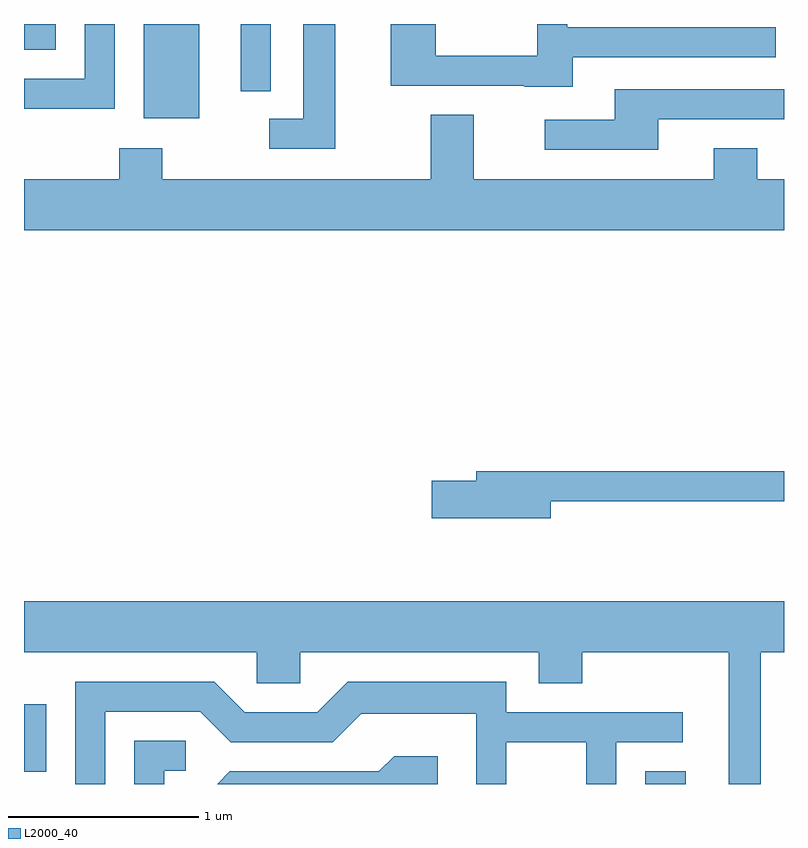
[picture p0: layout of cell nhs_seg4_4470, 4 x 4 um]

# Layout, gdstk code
import gdstk
lib = gdstk.Library(unit=1e-6, precision=1e-09)
def R(c, l, rs):  # rectangles x0, y0, x1, y1
    for r in rs: c.add(gdstk.rectangle(r[:2], r[2:], *l))
def P(c, l, *ps):  # polygons
    for p in ps: c.add(gdstk.Polygon(p, *l))
L2000_40 = (2000, 40)

nhs_seg4_4470 = lib.new_cell('nhs_seg4_4470')
R(nhs_seg4_4470, L2000_40, [(318.881,1353.982,319.094,1354.049), (315.611,1354.046,315.729,1354.403), (316.241,1357.486,316.534,1357.982), (316.751,1357.628,316.909,1357.982), (315.611,1357.846,315.779,1357.982)])
P(nhs_seg4_4470, L2000_40, [(316.089,1357.982),(315.931,1357.982),(315.931,1357.694),(315.611,1357.694),(315.611,1357.536),(316.089,1357.536)],
  [(317.249,1357.982),(317.081,1357.982),(317.081,1357.484),(316.903,1357.484),(316.903,1357.326),(317.249,1357.326)],
  [(318.499,1357.806),(319.568,1357.806),(319.568,1357.964),(318.469,1357.964),(318.469,1357.982),(318.311,1357.982),(318.311,1357.814),(317.779,1357.814),(317.779,1357.982),(317.541,1357.982),(317.541,1357.656),(318.245,1357.656),(318.245,1357.651),(318.499,1357.651)],
  [(318.949,1357.481),(319.611,1357.481),(319.611,1357.639),(318.721,1357.639),(318.721,1357.479),(318.353,1357.479),(318.353,1357.321),(318.949,1357.321)],
  [(319.611,1357.164),(319.469,1357.164),(319.469,1357.329),(319.241,1357.329),(319.241,1357.164),(317.979,1357.164),(317.979,1357.504),(317.751,1357.504),(317.751,1357.164),(316.339,1357.164),(316.339,1357.329),(316.111,1357.329),(316.111,1357.164),(315.611,1357.164),(315.611,1356.896),(319.611,1356.896)],
  [(318.384,1355.471),(319.611,1355.471),(319.611,1355.629),(317.991,1355.629),(317.991,1355.579),(317.756,1355.579),(317.756,1355.381),(318.384,1355.381)],
  [(319.489,1354.676),(319.611,1354.676),(319.611,1354.944),(315.611,1354.944),(315.611,1354.676),(316.836,1354.676),(316.836,1354.511),(317.064,1354.511),(317.064,1354.676),(318.321,1354.676),(318.321,1354.511),(318.549,1354.511),(318.549,1354.676),(319.321,1354.676),(319.321,1353.982),(319.489,1353.982)],
  [(316.039,1354.361),(316.539,1354.361),(316.699,1354.201),(317.237,1354.201),(317.387,1354.351),(317.991,1354.351),(317.991,1353.982),(318.149,1353.982),(318.149,1354.201),(318.571,1354.201),(318.571,1353.982),(318.729,1353.982),(318.729,1354.201),(319.078,1354.201),(319.078,1354.359),(318.149,1354.359),(318.149,1354.519),(317.314,1354.519),(317.154,1354.359),(316.772,1354.359),(316.612,1354.519),(315.881,1354.519),(315.881,1353.982),(316.039,1353.982)],
  [(316.349,1354.051),(316.463,1354.051),(316.463,1354.209),(316.191,1354.209),(316.191,1353.982),(316.349,1353.982)],
  [(317.788,1354.129),(317.559,1354.129),(317.479,1354.049),(316.694,1354.049),(316.627,1353.982),(317.788,1353.982)])

lib.write_gds('nhs_seg4_4470.gds')
